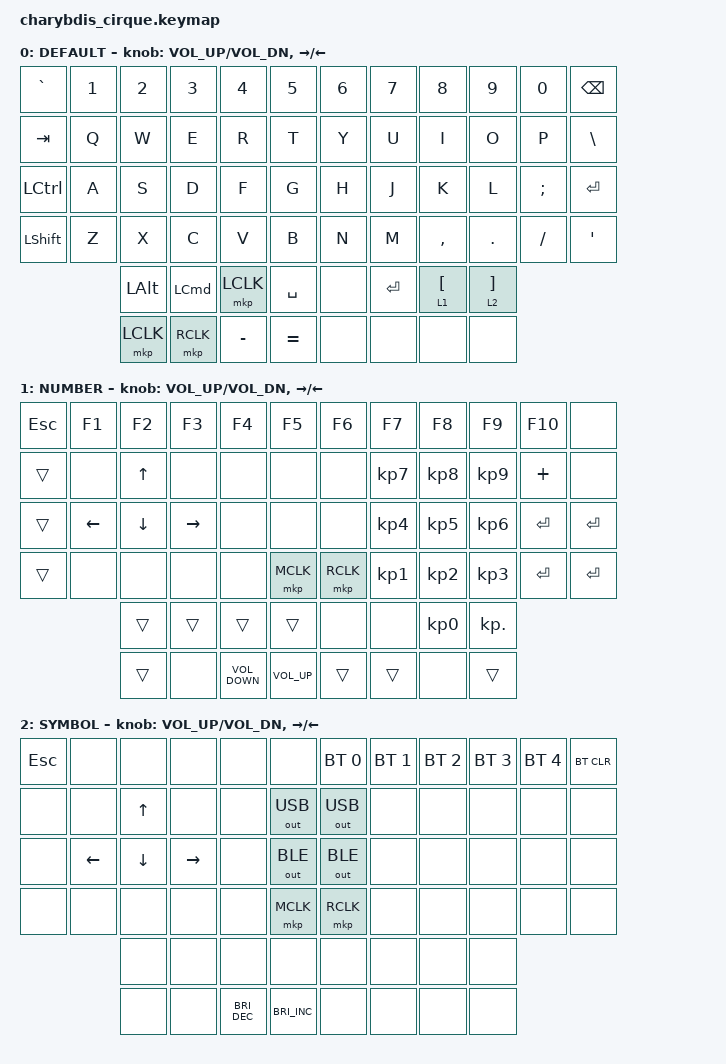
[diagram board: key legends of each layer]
#include <dt-bindings/zmk/mouse.h>
#include <behaviors.dtsi>
#include <dt-bindings/zmk/bt.h>
#include <dt-bindings/zmk/keys.h>
#include <dt-bindings/zmk/outputs.h>
#include <dt-bindings/zmk/pointing.h>

// mouse move settings

#define MMV_U MOVE_VERT(-650)
#define MMV_D MOVE_VERT(650)
#define MMV_L MOVE_HOR(-650)
#define MMV_R MOVE_HOR(650)

&mmv {
    time-to-max-speed-ms = <500>;
    acceleration-exponent = <1>;
};

// mouse wheel settings

#define MWH_U SCROLL_VERT(15)
#define MWH_D SCROLL_VERT(-15)
#define MWH_L SCROLL_HOR(-15)
#define MWH_R SCROLL_HOR(15)

&mwh {
    time-to-max-speed-ms = <2000>;
    acceleration-exponent = <0>;
};

#define DEFAULT 0
#define NUMBER  1
#define SYMBOL  2
#define HOTKEY  3

#define AS(keycode) &as LS(keycode) keycode

/ {
    behaviors {
        td0: tap_dance_0 {
            compatible = "zmk,behavior-tap-dance";
            label = "TAP_DANCE_0";
            #binding-cells = <0>;
            tapping-term-ms = <200>;
            bindings = <&kp ESC>, <&kp TAB>;
        };
    };

    behaviors {
        as: auto_shift {
            compatible = "zmk,behavior-hold-tap";
            label = "AUTO_SHIFT";
            #binding-cells = <2>;
            tapping-term-ms = <200>;
            quick-tap-ms = <0>;
            flavor = "tap-preferred";
            bindings = <&kp>, <&kp>;
        };

        modcp: mod_copy {
            compatible = "zmk,behavior-mod-morph";
            label = "MOD_COPY";
            #binding-cells = <0>;
            bindings = <&as LS(C) C>, <&kp C>;

            mods = <(LGUI | RGUI)>;
        };
    };

    macros {
        macro_phone: macro_phone {
            // 1351

            label = "MACRO_PHONE";
            compatible = "zmk,behavior-macro";
            #binding-cells = <0>;
            bindings = <&kp N1 &kp N3 &kp N5 &kp N1>;
        };
    };

    combos {
        compatible = "zmk,combos";

        combo_esc {
            timeout-ms = <50>;
            key-positions = <14 15>;
            bindings = <&mkp LCLK>;
        };

        combo_rgui {
            timeout-ms = <50>;
            key-positions = <26 27>;
            bindings = <&mkp MCLK>;
        };

        combo_LSHFT {
            timeout-ms = <50>;
            key-positions = <38 39>;
            bindings = <&mkp RCLK>;
        };

        combo_2 {
            timeout-ms = <50>;
            key-positions = <14 50>;
            bindings = <&kp N2 >;
        };

        combo_3 {
            timeout-ms = <50>;
            key-positions = <26 50>;
            bindings = <&kp N3>;
        };

        combo_GUI {
            timeout-ms = <50>;
            key-positions = <50 40>;
            bindings = <&tog 1>;
        };

        combo_GU {
            timeout-ms = <50>;
            key-positions = <14 39>;
            bindings = <&mo 2>;
        };
    };

    keymap {
        compatible = "zmk,keymap";

        default_layer {
            label = "DEFAULT";
            bindings = <
&kp GRAVE   &kp N1  &kp N2        &kp N3            &kp N4     &kp N5     &kp N6  &kp N7   &kp N8              &kp N9               &kp N0    &kp BACKSPACE
&kp TAB     &kp Q   &kp W         &kp E             &kp R      &kp T      &kp Y   &kp U    &kp I               &kp O                &kp P     &kp BACKSLASH
&kp LCTRL   &kp A   &kp S         &kp D             &kp F      &kp G      &kp H   &kp J    &kp K               &kp L                &kp SEMI  &kp ENTER
&kp LSHIFT  &kp Z   &kp X         &kp C             &kp V      &kp B      &kp N   &kp M    &kp COMMA           &kp DOT              &kp FSLH  &kp SQT
                    &kp LEFT_ALT  &kp LEFT_COMMAND  &mkp LCLK  &kp SPACE  &none   &kp RET  &lt 1 LEFT_BRACKET  &lt 2 RIGHT_BRACKET
                    &mkp LCLK     &mkp RCLK         &kp MINUS  &kp EQUAL  &none   &none    &none               &none
            >;

            sensor-bindings = <&inc_dec_kp C_VOL_UP C_VOL_DN &inc_dec_kp RIGHT LEFT>;
            trackball-bindings = <&tmv>;
        };

        number_layer {
            label = "NUMBER";
            bindings = <
&kp ESCAPE  &kp F1          &kp F2          &kp F3           &kp F4             &kp F5           &kp F6     &kp F7     &kp F8     &kp F9      &kp F10    &none
&trans      &none           &kp UP_ARROW    &none            &none              &none            &none      &kp KP_N7  &kp KP_N8  &kp KP_N9   &kp PLUS   &none
&trans      &kp LEFT_ARROW  &kp DOWN_ARROW  &kp RIGHT_ARROW  &none              &none            &none      &kp KP_N4  &kp KP_N5  &kp KP_N6   &kp ENTER  &kp RET
&trans      &none           &none           &none            &none              &mkp MCLK        &mkp RCLK  &kp KP_N1  &kp KP_N2  &kp KP_N3   &kp ENTER  &kp ENTER
                            &trans          &trans           &trans             &trans           &none      &none      &kp KP_N0  &kp KP_DOT
                            &trans          &none            &kp C_VOLUME_DOWN  &kp C_VOLUME_UP  &trans     &trans     &none      &trans
            >;

            trackball-bindings = <&tsl>;
            sensor-bindings = <&inc_dec_kp C_VOL_UP C_VOL_DN &inc_dec_kp RIGHT LEFT>;
        };

        symbol_layer {
            label = "SYMBOL";
            bindings = <
&kp ESCAPE  &none           &none           &none            &none                 &none                 &bt BT_SEL 0  &bt BT_SEL 1  &bt BT_SEL 2  &bt BT_SEL 3  &bt BT_SEL 4  &bt BT_CLR
&none       &none           &kp UP_ARROW    &none            &none                 &out OUT_USB          &out OUT_USB  &none         &none         &none         &none         &none
&none       &kp LEFT_ARROW  &kp DOWN_ARROW  &kp RIGHT_ARROW  &none                 &out OUT_BLE          &out OUT_BLE  &none         &none         &none         &none         &none
&none       &none           &none           &none            &none                 &mkp MCLK             &mkp RCLK     &none         &none         &none         &none         &none
                            &none           &none            &none                 &none                 &none         &none         &none         &none
                            &none           &none            &kp C_BRIGHTNESS_DEC  &kp C_BRIGHTNESS_INC  &none         &none         &none         &none
            >;

            trackball-bindings = <&tmv_fine>;
            sensor-bindings = <&inc_dec_kp C_VOL_UP C_VOL_DN &inc_dec_kp RIGHT LEFT>;
        };
    };
};
